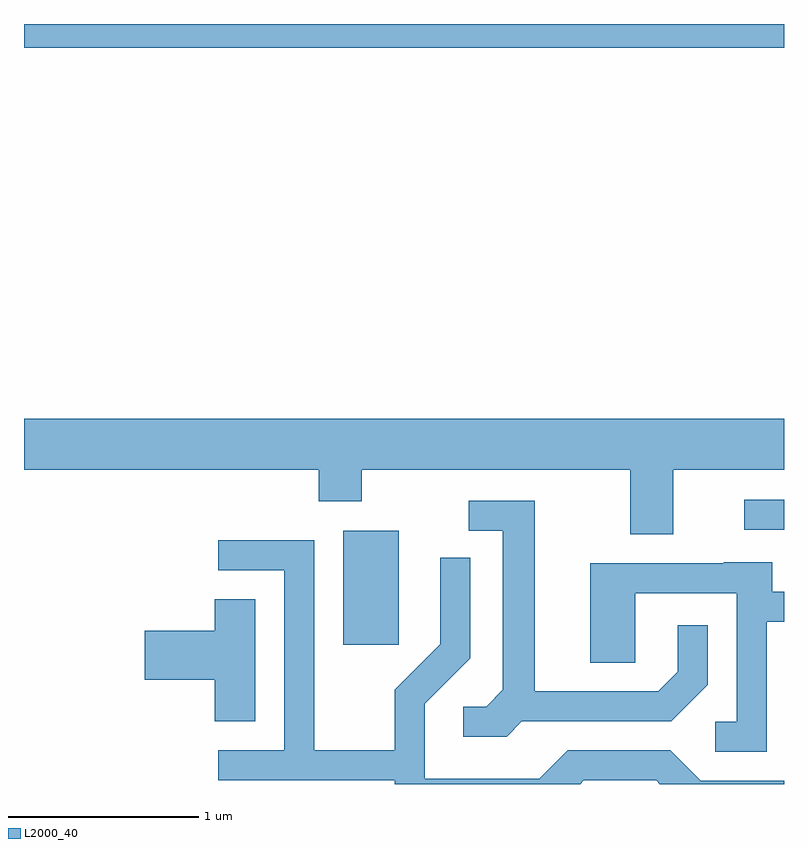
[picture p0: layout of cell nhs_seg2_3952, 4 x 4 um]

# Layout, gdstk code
import gdstk
lib = gdstk.Library(unit=1e-6, precision=1e-09)
def R(c, l, rs):  # rectangles x0, y0, x1, y1
    for r in rs: c.add(gdstk.rectangle(r[:2], r[2:], *l))
def P(c, l, *ps):  # polygons
    for p in ps: c.add(gdstk.Polygon(p, *l))
L2000_40 = (2000, 40)

nhs_seg2_3952 = lib.new_cell('nhs_seg2_3952')
R(nhs_seg2_3952, L2000_40, [(303.291,1018.536,303.584,1019.134), (305.403,1019.141,305.611,1019.299), (301.611,1021.676,305.611,1021.802)])
P(nhs_seg2_3952, L2000_40, [(305.029,1019.456),(305.611,1019.456),(305.611,1019.724),(301.611,1019.724),(301.611,1019.456),(303.161,1019.456),(303.161,1019.291),(303.389,1019.291),(303.389,1019.456),(304.801,1019.456),(304.801,1019.116),(305.029,1019.116)],
  [(304.232,1018.131),(305.017,1018.131),(305.209,1018.324),(305.209,1018.638),(305.051,1018.638),(305.051,1018.392),(304.949,1018.289),(304.299,1018.289),(304.299,1019.294),(303.953,1019.294),(303.953,1019.136),(304.131,1019.136),(304.131,1018.297),(304.044,1018.209),(303.923,1018.209),(303.923,1018.051),(304.152,1018.051)],
  [(304.557,1017.821),(304.939,1017.821),(304.958,1017.802),(305.611,1017.802),(305.611,1017.819),(305.172,1017.819),(305.012,1017.979),(304.474,1017.979),(304.324,1017.829),(303.719,1017.829),(303.719,1018.224),(303.959,1018.464),(303.959,1018.993),(303.801,1018.993),(303.801,1018.537),(303.561,1018.297),(303.561,1017.979),(303.139,1017.979),(303.139,1019.084),(302.633,1019.084),(302.633,1018.926),(302.981,1018.926),(302.981,1017.979),(302.633,1017.979),(302.633,1017.821),(303.561,1017.821),(303.561,1017.802),(304.538,1017.802)],
  [(305.519,1018.656),(305.611,1018.656),(305.611,1018.814),(305.549,1018.814),(305.549,1018.969),(305.295,1018.969),(305.295,1018.964),(304.591,1018.964),(304.591,1018.441),(304.829,1018.441),(304.829,1018.806),(305.361,1018.806),(305.361,1018.129),(305.248,1018.129),(305.248,1017.971),(305.519,1017.971)],
  [(302.829,1018.774),(302.616,1018.774),(302.616,1018.609),(302.246,1018.609),(302.246,1018.351),(302.616,1018.351),(302.616,1018.131),(302.829,1018.131)])

lib.write_gds('nhs_seg2_3952.gds')
